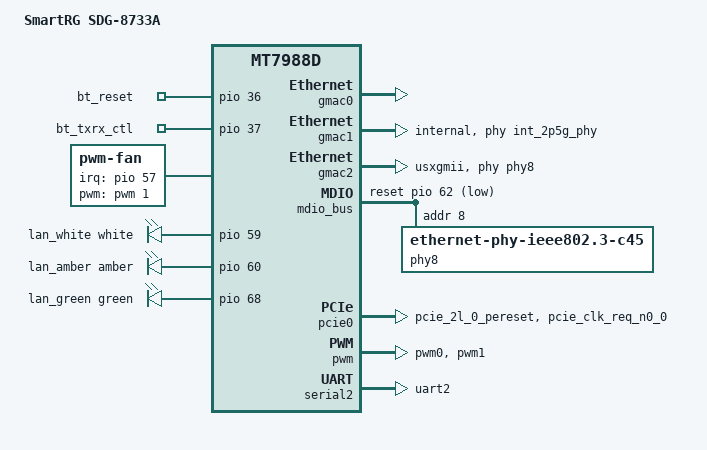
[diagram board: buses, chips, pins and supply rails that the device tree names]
// SPDX-License-Identifier: (GPL-2.0 OR MIT)
/*
 * Copyright (C) 2024 SmartRG Inc.
 * Author: Chad Monroe <chad.monroe@smartrg.com>
 */

#include "mt7988-smartrg-base.dtsi"
#include "mt7988-smartrg-sysled.dtsi"
#include "mt7988-smartrg-wifi-mt7995.dtsi"
#include "mt7988d-smartrg-SDG-8733A-power-limits-r1-RCM-AU-NZ.dtsi"
#include "mt7988d-smartrg-SDG-8733A-power-limits-r2-IC-CA.dtsi"
#include "mt7988d-smartrg-SDG-8733A-power-limits-r3-ETSI-GB.dtsi"
#include "mt7988d-smartrg-SDG-8733A-power-limits-r4-ETSI.dtsi"
#include "mt7988d-smartrg-SDG-8733A-power-limits-r5-FCC-US.dtsi"

/ {
	model = "SmartRG SDG-8733A";
	compatible = "smartrg,sdg-8733a", "mediatek,mt7988d";

	aliases {
		label-mac-device = &gmac1;
	};

	chosen {
		linux,usable-memory-range = <0x0 0x40000000 0x0 0x3fc00000>;
	};

	cpus {
		/delete-node/ cpu@3;
	};

	gpio-keys {
		button-sync {
			label = "sync";
			linux,code = <KEY_WPS_BUTTON>;
			gpios = <&pio 14 GPIO_ACTIVE_LOW>;
		};
	};

	gpio_export: gpio-export {
		compatible = "gpio-export";

		bluetooth_reset: bluetooth-reset {
			gpio-export,name = "bt_reset";
			gpio-export,direction_may_change;
			gpios = <&pio 36 GPIO_ACTIVE_HIGH>;
		};

		bluetooth_txrx_ctl: bluetooth-txrx-ctl {
			gpio-export,name = "bt_txrx_ctl";
			gpio-export,direction_may_change;
			gpios = <&pio 37 GPIO_ACTIVE_HIGH>;
		};
	};

	fan: pwm-fan {
		compatible = "pwm-fan";
		#cooling-cells = <2>;
		#thermal-sensor-cells = <1>;

		pwms = <&pwm 1 40000 0>;

		/**
		 * set fan speed
		 *
		 * 0 = off
		 * 61 = 24% duty cycle
		 * 77 = 30% duty cycle
		 * 102 = 40% duty cycle
		 * 128 - 50% duty cycle
		 * 255 = 100% duty cycle
		 */
		cooling-levels = <61 77 102 128>;

		interrupt-parent = <&pio>;
		interrupts = <57 IRQ_TYPE_EDGE_FALLING>;
		pulses-per-revolution = <2>;

		status = "okay";
	};

	leds: gpio-leds {
		compatible = "gpio-leds";

		lan_white {
			color = <LED_COLOR_ID_WHITE>;
			function = "lan";
			gpios = <&pio 59 GPIO_ACTIVE_HIGH>;
			linux,default-trigger = "mdio-bus:0f:2.5Gbps";
		};

		lan_amber {
			color = <LED_COLOR_ID_AMBER>;
			function = "lan";
			gpios = <&pio 60 GPIO_ACTIVE_HIGH>;
			linux,default-trigger = "mdio-bus:0f:100Mbps";
		};

		lan_green {
			color = <LED_COLOR_ID_GREEN>;
			function = "lan";
			gpios = <&pio 68 GPIO_ACTIVE_HIGH>;
			linux,default-trigger = "mdio-bus:0f:1Gbps";
		};
	};

	thermal-zones {
		cpu_thermal: cpu-thermal {
			thermal-sensors = <&lvts 0>;
			SDG_1FAN_THERMAL_MAP(cpu_thermal, &fan,
					     125000, 120000,
					     110000, 80000,
					     60000, 40000);
		};

		aqr_wan_thermal: aqr-wan-thermal {
			thermal-sensors = <&phy8>;
			SDG_1FAN_THERMAL_MAP(aqr_wan_thermal, &fan,
					     108000, 104000,
					     100000, 90000,
					     80000, 40000);
		};
	};
};

&button_pins {
	pins = "GPIO_RESET", "GPIO_WPS";
};

/* ballast: dsa0 against the disabled switch, carried from pre-refactor dtb */
&gmac0 {
	nvmem-cells = <&macaddr 0x1>;
	nvmem-cell-names = "mac-address";
	label = "dsa0";

	status = "okay";
};

&gmac1 {
	nvmem-cells = <&macaddr 0x1>;
	nvmem-cell-names = "mac-address";
	label = "lan";
	phy-mode = "internal";
	phy = <&int_2p5g_phy>;

	status = "okay";
};

&gmac2 {
	nvmem-cells = <&macaddr 0x0>;
	nvmem-cell-names = "mac-address";
	label = "wan";
	phy-mode = "usxgmii";
	managed = "in-band-status";
	phy = <&phy8>;

	status = "okay";
};

&int_2p5g_phy {
	pinctrl-names = "i2p5gbe-led";
	pinctrl-0 = <&gbe1_led0_pins>;
};

&mdio_bus {
	reset-gpios = <&pio 62 GPIO_ACTIVE_LOW>;
	reset-delay-us = <100000>;
	reset-post-delay-us = <1000000>;

	phy8: ethernet-phy@8 {
		/* AQR113C */
		compatible = "ethernet-phy-ieee802.3-c45";
		reg = <8>;
		#thermal-sensor-cells = <0>;

		marvell,led-config = <0xC000 0x60 0x80>;
		marvell,hwmon_temp_high = <90000>;
		marvell,hwmon_temp_crit = <100000>;
		marvell,mdi-cfg-order = <0>;

		leds {
			#address-cells = <1>;
			#size-cells = <0>;

			led@0 {
				reg = <0>;
				function = LED_FUNCTION_WAN;
				color = <LED_COLOR_ID_GREEN>;
			};

			led@1 {
				reg = <1>;
				function = LED_FUNCTION_WAN;
				color = <LED_COLOR_ID_ORANGE>;
			};

			led@2 {
				reg = <2>;
				function = LED_FUNCTION_WAN;
				color = <LED_COLOR_ID_WHITE>;
				active-high;
			};
		};
	};
};

&emmc_block {
	partitions {
		block-partition-factory {
			partname = "factory";

			nvmem-layout {
				compatible = "fixed-layout";
				#address-cells = <1>;
				#size-cells = <1>;

				eeprom_factory_0: eeprom@0 {
					reg = <0x0 0x1e00>;
				};

				/* mt7996-233 precal data size */
				precal_factory_1e10: precal@1e10 {
					reg = <0x1e10 0xee434>;
				};
			};
		};

		block-partition-mfginfo {
			partname = "mfginfo";

			nvmem-layout {
				compatible = "adtran,mfginfo";

				macaddr: mfg-mac {
					#nvmem-cell-cells = <1>;
				};
			};
		};
	};
};

&pcie0 {
	pinctrl-names = "default";
	pinctrl-0 = <&pcie0_1_pins>;
};

/* ballast: pinctrl on a disabled port, carried from pre-refactor dtb */
&pcie1 {
	pinctrl-names = "default";
	pinctrl-0 = <&pcie1_pins>;
	status = "disabled";
};

&pio {
	gbe1_led0_pins: gbe1-led0-pins {
		mux {
			function = "led";
			groups = "gbe1_led0";
		};
	};

	pcie0_1_pins: pcie0-pins-g1 {
		mux {
			function = "pcie";
			groups = "pcie_2l_0_pereset", "pcie_clk_req_n0_0";
		};
	};

	pwm_pins: pwm-pins {
		mux {
			function = "pwm";
			groups = "pwm0", "pwm1";
		};
	};

	/* ballast: unused pin groups, carried from pre-refactor dtb */
	sfp_i2c_pins: sfp-i2c-pins {
		conf-scl {
			pins = "LED_A";
			drive-strength =  <MTK_DRIVE_8mA>;
			bias-pull-up = <MTK_PUPD_SET_R1R0_01>;
		};
		conf-sda {
			pins = "LED_E";
			drive-strength =  <MTK_DRIVE_8mA>;
			bias-disable;
		};
	};

	uart1_pins: uart1-pins {
		mux {
			function = "uart";
			groups = "uart1_2";
		};
	};

	uart2_pins: uart2-pins {
		mux {
			function = "uart";
			groups = "uart2";
		};
	};
};

&pwm {
	pinctrl-names = "default";
	pinctrl-0 = <&pwm_pins>;
	status = "okay";
};

/* ballast: pinctrl on a disabled uart, carried from pre-refactor dtb */
&serial1 {
	pinctrl-names = "default";
	pinctrl-0 = <&uart1_pins>;
	status = "disabled";
};

&serial2 {
	pinctrl-names = "default";
	pinctrl-0 = <&uart2_pins>;
	status = "okay";

	/* DA14531MOD Bluetooth */
};

/* ballast: u3p mask on a disabled controller, carried from pre-refactor dtb */
&ssusb1 {
	mediatek,u3p-dis-msk = <0x1>;
};

/* ballast: gsw remnants against the disabled switch */
&gsw_phy0 {
	status = "disabled";
};

&switch {
	status = "disabled";

	/* ballast: port labels against the disabled switch */
	ports {
		port@0 {
			status = "disabled";
		};

		port@1 {
			label = "lan2";
		};

		port@2 {
			label = "lan3";
		};

		port@3 {
			label = "lan4";
		};
	};
};
